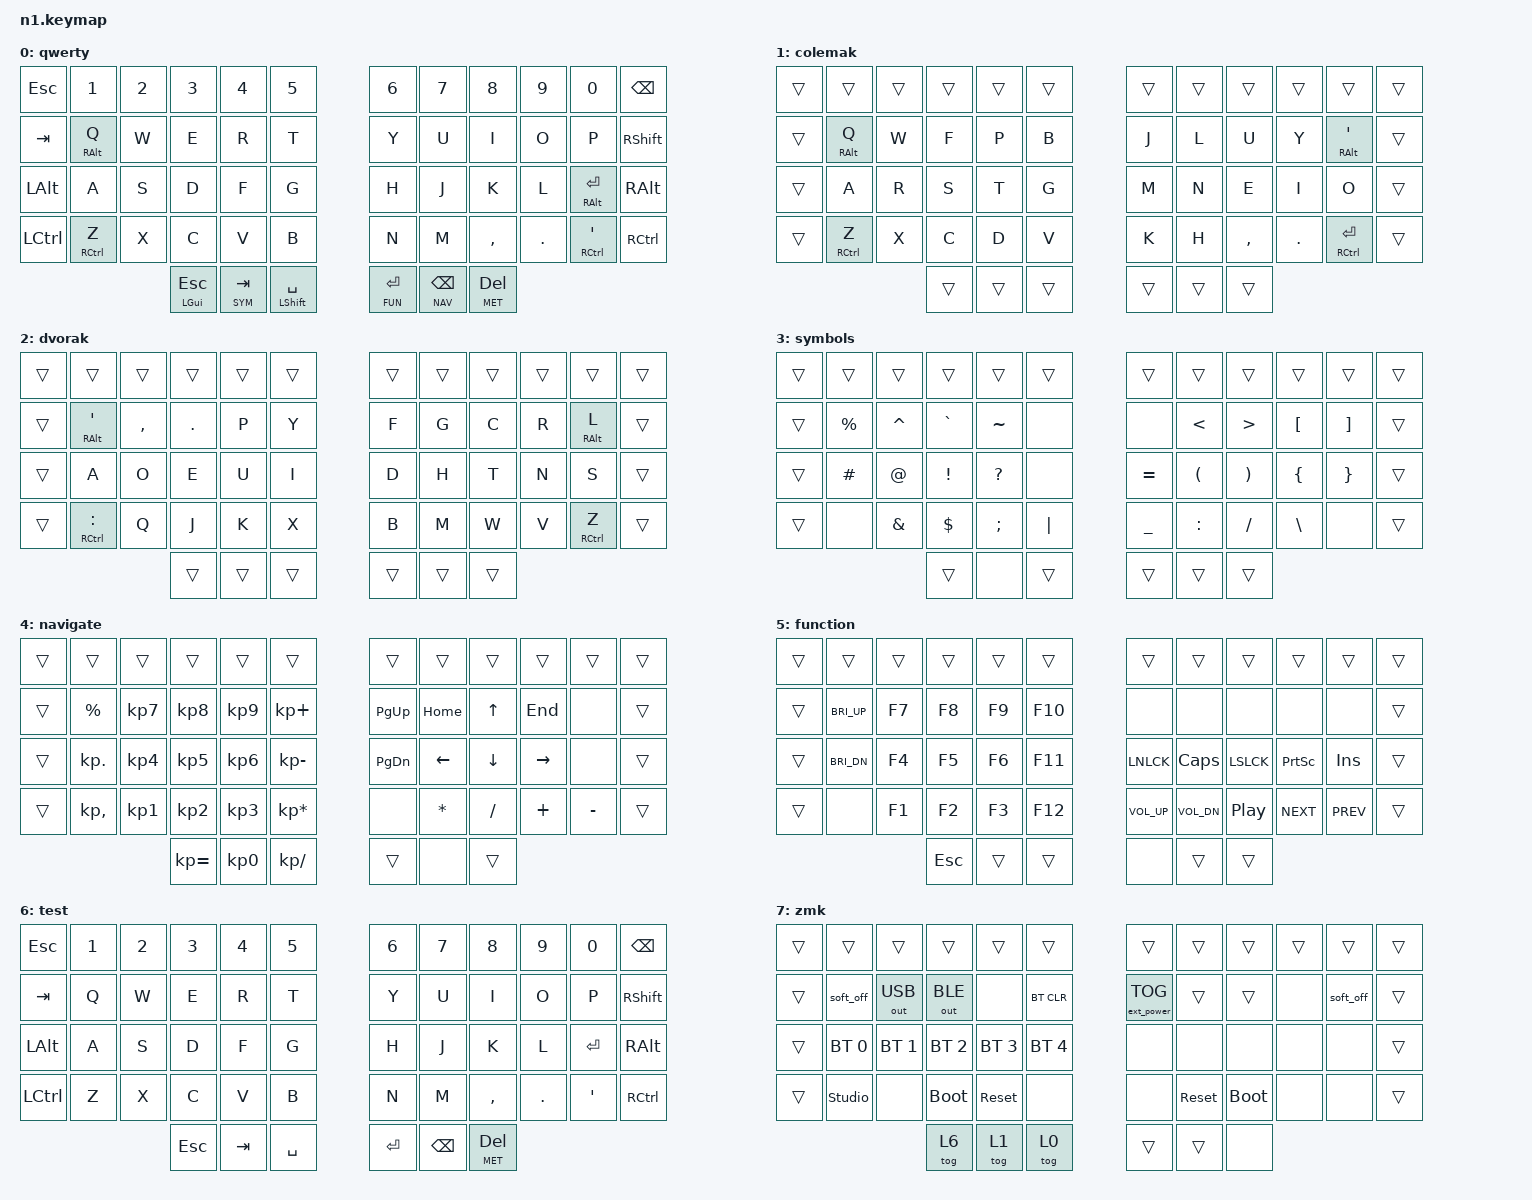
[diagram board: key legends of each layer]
#include <behaviors.dtsi>
#include <dt-bindings/zmk/keys.h>
#include <dt-bindings/zmk/bt.h>
#include <dt-bindings/zmk/ext_power.h>
#include <dt-bindings/zmk/outputs.h>

#define QWE 0
#define COL 1
#define DVO 2
#define SYM 3
#define NAV 4
#define FUN 5
#define TST 6
#define MET 7

&lt {
  tapping-term-ms = <150>;
  quick_tap_ms = <150>;
};

&soft_off {
    hold-time-ms = <2000>; 
};

/ {

  behaviors {
    hm: hold_tap_tuned {
      compatible = "zmk,behavior-hold-tap";
      label = "HOLD_TAP_TUNED";
      #binding-cells = <2>;
      tapping-term-ms = <170>;
      quick_tap_ms = <170>;
      flavor = "tap-preferred";
      bindings = <&kp>, <&kp>;
    };
  };

  keymap {
    compatible = "zmk,keymap";

    qwerty_layer {
      display-name = "qwerty";
      bindings = <
        &kp ESC        &kp N1          &kp N2       &kp N3         &kp N4           &kp N5               &kp N6          &kp N7          &kp N8        &kp N9       &kp N0          &kp BSPC         
        &kp TAB        &hm RALT Q      &kp W        &kp E          &kp R            &kp T                &kp Y           &kp U           &kp I         &kp O        &kp P           &kp RSHFT          
        &kp LALT       &kp A           &kp S        &kp D          &kp F            &kp G                &kp H           &kp J           &kp K         &kp L        &hm RALT RET    &kp RALT     
        &kp LCTRL      &hm RCTRL Z     &kp X        &kp C          &kp V            &kp B                &kp N           &kp M           &kp COMMA     &kp DOT      &hm RCTRL APOS  &kp RCTRL
                                                    &mt LGUI ESC   &lt SYM TAB      &hm LSHFT SPACE      &lt FUN RET     &lt NAV BSPC    &lt MET DEL
      >;
    };

    colemak_layer {
      display-name = "colemak";
      bindings = <
        &trans      &trans         &trans       &trans         &trans           &trans               &trans         &trans          &trans        &trans       &trans          &trans         
        &trans      &hm RALT Q     &kp W        &kp F          &kp P            &kp B                &kp J          &kp L           &kp U         &kp Y        &hm RALT APOS   &trans         
        &trans      &kp A          &kp R        &kp S          &kp T            &kp G                &kp M          &kp N           &kp E         &kp I        &kp O           &trans    
        &trans      &hm RCTRL Z    &kp X        &kp C          &kp D            &kp V                &kp K          &kp H           &kp COMMA     &kp DOT      &hm RCTRL RET   &trans
                                                &trans         &trans           &trans               &trans         &trans          &trans     
      >;
    };

    dvorak_layer {
      display-name = "dvorak";
      bindings = <
        &trans      &trans         &trans       &trans         &trans           &trans               &trans         &trans          &trans        &trans       &trans          &trans         
        &trans      &hm RALT APOS  &kp COMMA    &kp DOT        &kp P            &kp Y                &kp F          &kp G           &kp C         &kp R        &hm RALT L      &trans         
        &trans      &kp A          &kp O        &kp E          &kp U            &kp I                &kp D          &kp H           &kp T         &kp N        &kp S           &trans    
        &trans      &hm RCTRL COLN &kp Q        &kp J          &kp K            &kp X                &kp B          &kp M           &kp W         &kp V        &hm RCTRL Z     &trans
                                                &trans         &trans           &trans               &trans         &trans          &trans     
      >;
    };

    symbols {
      display-name = "symbols";
      bindings = <
        &trans         &trans         &trans       &trans         &trans           &trans               &trans         &trans         &trans        &trans       &trans       &trans         
        &trans         &kp PRCNT      &kp CARET    &kp GRAVE      &kp TILDE        &none                &none          &kp LT         &kp GT        &kp LBKT     &kp RBKT     &trans          
        &trans         &kp HASH       &kp AT       &kp EXCL       &kp QMARK        &none                &kp EQUAL      &kp LPAR       &kp RPAR      &kp LBRC     &kp RBRC     &trans     
        &trans         &none          &kp AMPS     &kp DLLR       &kp SEMI         &kp PIPE             &kp UNDER      &kp COLN       &kp FSLH      &kp BSLH     &none        &trans
                                                   &trans         &none            &trans               &trans         &trans         &trans
      >;
    };

    navigation {
      display-name = "navigate";
      bindings = <
        &trans         &trans         &trans       &trans         &trans           &trans               &trans         &trans         &trans        &trans       &trans        &trans    
        &trans         &kp PRCNT      &kp KP_N7    &kp KP_N8      &kp KP_N9        &kp KP_PLUS          &kp PG_UP      &kp HOME       &kp UP        &kp END      &none         &trans          
        &trans         &kp KP_DOT     &kp KP_N4    &kp KP_N5      &kp KP_N6        &kp KP_MINUS         &kp PG_DN      &kp LEFT       &kp DOWN      &kp RIGHT    &none         &trans     
        &trans         &kp KP_COMMA   &kp KP_N1    &kp KP_N2      &kp KP_N3        &kp KP_MULTIPLY      &none          &kp ASTRK      &kp FSLH      &kp PLUS     &kp MINUS     &trans
                                                   &kp KP_EQUAL   &kp KP_N0        &kp KP_DIVIDE        &trans         &none          &trans
      >;
    };

    function {
      display-name = "function";
      bindings = <
        &trans         &trans         &trans       &trans         &trans           &trans               &trans         &trans         &trans        &trans       &trans        &trans
        &trans         &kp C_BRI_UP   &kp F7       &kp F8         &kp F9           &kp F10              &none          &none          &none         &none        &none         &trans         
        &trans         &kp C_BRI_DN   &kp F4       &kp F5         &kp F6           &kp F11              &kp LNLCK     	&kp CAPS      &kp LSLCK     &kp PSCRN    &kp INS       &trans   
        &trans         &none          &kp F1       &kp F2         &kp F3           &kp F12              &kp C_VOL_UP   &kp C_VOL_DN   &kp C_PP      &kp C_NEXT   &kp C_PREV    &trans
                                                   &kp ESC        &trans           &trans               &none          &trans         &trans
      >;
    };

    test {
      display-name = "test";
      bindings = <
        &kp ESC        &kp N1          &kp N2       &kp N3         &kp N4           &kp N5               &kp N6          &kp N7          &kp N8        &kp N9       &kp N0          &kp BSPC         
        &kp TAB        &kp Q           &kp W        &kp E          &kp R            &kp T                &kp Y           &kp U           &kp I         &kp O        &kp P           &kp RSHFT          
        &kp LALT       &kp A           &kp S        &kp D          &kp F            &kp G                &kp H           &kp J           &kp K         &kp L        &kp RET         &kp RALT     
        &kp LCTRL      &kp Z           &kp X        &kp C          &kp V            &kp B                &kp N           &kp M           &kp COMMA     &kp DOT      &kp APOS        &kp RCTRL
                                                    &kp ESC        &kp TAB          &kp SPACE            &kp RET         &kp BSPC     &lt MET DEL

      >;
    };

    meta {
      display-name = "zmk";
      bindings = <
        &trans         &trans         &trans       &trans         &trans           &trans               &trans            &trans         &trans        &trans       &trans        &trans  
        &trans         &soft_off      &out OUT_USB &out OUT_BLE   &none            &bt BT_CLR           &ext_power EP_TOG &trans         &trans        &none        &soft_off     &trans         
        &trans         &bt BT_SEL 0   &bt BT_SEL 1 &bt BT_SEL 2   &bt BT_SEL 3     &bt BT_SEL 4         &none             &none          &none         &none        &none         &trans     
        &trans         &studio_unlock &none        &bootloader    &sys_reset       &none                &none             &sys_reset     &bootloader   &none        &none         &trans
                                                   &tog 6         &tog 1           &tog 0               &trans            &trans         &none

      >;
    };

    extra1 {
        status = "reserved";
    };

    extra2 {
        status = "reserved";
    };

    extra3 {
        status = "reserved";
    };


  };
};
